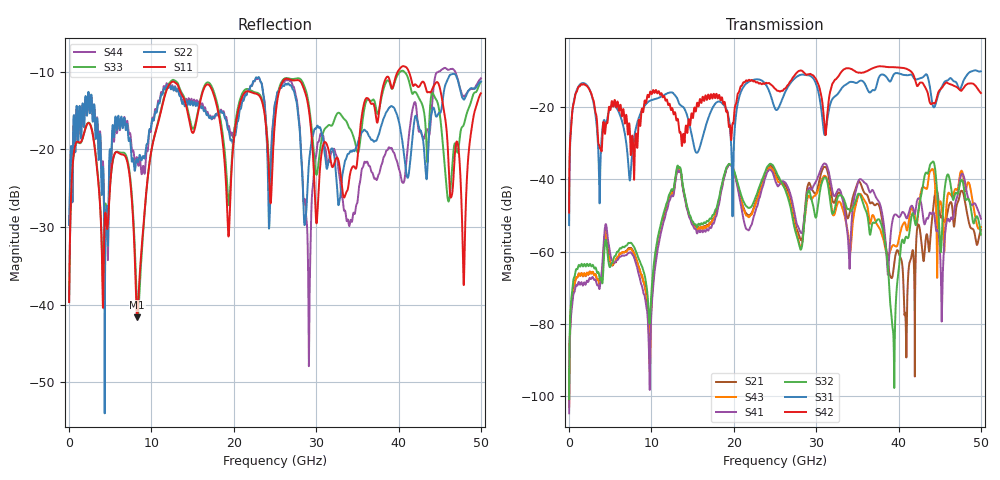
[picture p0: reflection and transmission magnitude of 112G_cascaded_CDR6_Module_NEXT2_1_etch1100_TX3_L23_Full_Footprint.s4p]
! Created Tue Feb 26 13:48:32 2019
# hz S ma R 50
! 4 Port Network Data from SP1.SP block
! freq  magS11  angS11  magS12  angS12  magS13  angS13  magS14  angS14
!  magS21  angS21  magS22  angS22  magS23  angS23  magS24  angS24
!  magS31  angS31  magS32  angS32  magS33  angS33  magS34  angS34
!  magS41  angS41  magS42  angS42  magS43  angS43  magS44  angS44
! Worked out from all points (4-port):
!   5000 points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, 10 MHz to 50 GHz, reference 50 ohm
!   strongest paths, dB at 10 MHz, 12.51 GHz, 25.01 GHz, 37.51 GHz, 50 GHz:
!     S42: -49.3, -20.3, -14.9, -8.8, -16.1
!     S31: -52.7, -16.0, -20.4, -12.4, -10.1
!     S32: -100.9, -42.8, -37.3, -51.1, -55.3
!     S41: -104.8, -44.5, -40.3, -45.8, -50.9
!     S43: -102.9, -43.8, -38.9, -52.9, -53.2
!     S21: -102.9, -43.5, -38.2, -46.8, -54.0
!   lowest |S11| = -41.7 dB at 8.27 GHz (marker M1), VSWR 1.02, Z = 49.5 - j0.687 ohm
!   |S11| at or under -10 dB: start of sweep to 39.89 GHz; 41.27 GHz to end of sweep
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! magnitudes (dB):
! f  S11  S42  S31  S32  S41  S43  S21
! 10 MHz  -39.7  -49.3  -52.7  -100.9  -104.8  -102.9  -102.9
! 1.36 GHz  -19.1  -14.1  -13.7  -64.2  -69.2  -66.7  -66.7
! 8.27 GHz  -41.7  -31.2  -24.5  -60.8  -64.4  -63.0  -62.8
! 12.46 GHz  -11.3  -20.5  -16.0  -42.7  -44.4  -43.7  -43.5
! 39.37 GHz  -11.8  -9.0  -11.2  -83.0  -50.5  -58.2  -65.3
! 44.02 GHz  -12.4  -19.2  -17.9  -35.4  -49.6  -37.3  -52.2
! 50 GHz  -12.8  -16.1  -10.1  -55.3  -50.9  -53.2  -54.0
